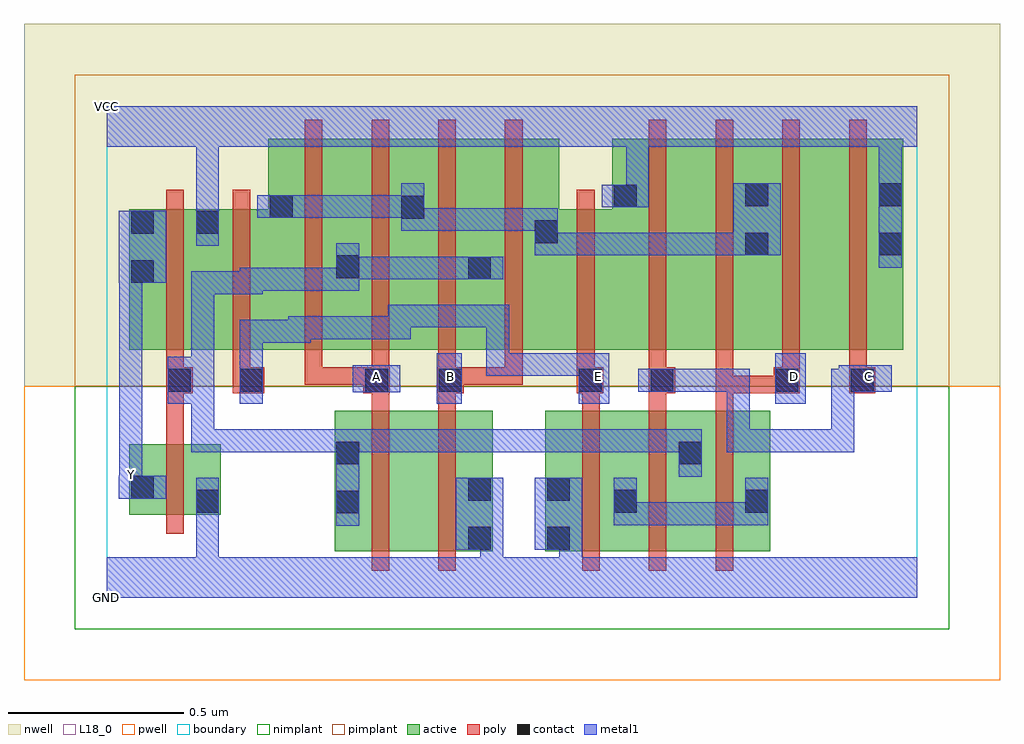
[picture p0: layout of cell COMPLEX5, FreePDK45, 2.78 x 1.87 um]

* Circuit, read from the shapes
.subckt COMPLEX5 A B C D E GND VCC Y
M1 GND n1 Y VSUBS nfet w=0.2u l=0.05u
M2 n2 A n1 VSUBS nfet w=0.4u l=0.05u
M3 GND B n2 VSUBS nfet w=0.4u l=0.05u
M4 n3 E GND VSUBS nfet w=0.4u l=0.05u
M5 n1 C n3 VSUBS nfet w=0.4u l=0.05u
M6 n3 D n1 VSUBS nfet w=0.4u l=0.05u
M7 VCC n1 Y n4 pfet w=0.4u l=0.05u
M8 n5 E VCC n4 pfet w=0.4u l=0.05u m=2
M9 n1 A n5 n4 pfet w=0.6u l=0.05u m=2
M10 n1 B n5 n4 pfet w=0.6u l=0.05u m=2
M11 n6 C VCC n4 pfet w=0.6u l=0.05u
M12 n5 D n6 n4 pfet w=0.6u l=0.05u
M13 n7 D n5 n4 pfet w=0.6u l=0.05u
M14 VCC C n7 n4 pfet w=0.6u l=0.05u
.ends

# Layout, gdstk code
import gdstk
lib = gdstk.Library(unit=1e-6, precision=1e-09)
def R(c, l, rs):  # rectangles x0, y0, x1, y1
    for r in rs: c.add(gdstk.rectangle(r[:2], r[2:], *l))
def A(c, l, x, y, w, h, nx, ny, dx, dy):  # array of equal rectangles
    R(c, l, [(x+i*dx, y+j*dy, x+i*dx+w, y+j*dy+h) for i in range(nx) for j in range(ny)])
active = (1, 0)
pwell = (2, 0)
nwell = (3, 0)
nimplant = (4, 0)
pimplant = (5, 0)
poly = (9, 0)
contact = (10, 0)
metal1 = (11, 0)
L18_0 = (18, 0)
boundary = (235, 0)

complex5 = lib.new_cell('COMPLEX5')
R(complex5, active, [(0.65,0.132,0.875,0.532), (0.875,0.132,1.1,0.532), (1.025,0.132,1.1,0.532), (1.25,0.132,1.515,0.532), (1.25,0.132,1.325,0.532), (1.44,0.132,1.7,0.532), (1.625,0.132,1.89,0.532), (0.65,0.147,0.755,0.532), (1.44,0.147,1.515,0.492), (1.625,0.147,1.7,0.492), (1.815,0.147,1.89,0.532), (0.065,0.237,0.14,0.437), (0.065,0.237,0.325,0.437), (0.25,0.237,0.325,0.437), (0.065,0.707,0.325,1.107), (0.065,0.707,0.14,1.107), (0.25,0.707,0.325,1.107), (0.25,0.707,0.535,1.107), (0.46,0.707,0.725,1.307), (0.65,0.707,0.725,1.07), (0.65,0.707,0.91,1.307), (0.835,0.707,0.91,1.2), (0.835,0.707,1.1,1.307), (1.025,0.707,1.29,1.307), (1.025,0.707,1.1,1.07), (1.215,0.707,1.515,1.107), (1.44,0.707,1.665,1.307), (1.665,0.707,1.89,1.307), (1.815,0.707,2.045,1.307), (1.815,0.707,1.89,1.2), (2.045,0.707,2.27,1.307), (2.195,0.707,2.27,1.307), (1.44,0.802,1.515,1.182), (0.46,0.845,0.535,1.2), (1.215,0.907,1.29,1.2)])
R(complex5, pwell, [(-0.235,-0.235,2.545,0.602)])
R(complex5, nwell, [(-0.235,0.602,2.545,1.635)])
R(complex5, nimplant, [(-0.09,-0.09,2.4,0.602)])
R(complex5, pimplant, [(-0.09,0.602,2.4,1.49)])
A(complex5, poly, 1.355, 0.077, 0.05, 0.51, 3, 1, 0.19, 0)
A(complex5, poly, 1.355, 0.537, 0.05, 0.095, 3, 1, 0.19, 0)
A(complex5, poly, 0.565, 0.607, 0.05, 0.095, 4, 1, 0.19, 0)
A(complex5, poly, 0.565, 0.652, 0.05, 0.71, 4, 1, 0.19, 0)
A(complex5, poly, 1.545, 0.652, 0.05, 0.71, 4, 1, 0.19, 0)
R(complex5, poly, [(0.755,0.077,0.805,0.587), (0.945,0.077,0.995,0.587), (0.17,0.182,0.22,0.492), (0.17,0.442,0.22,0.632), (0.755,0.537,0.805,0.632), (0.945,0.537,0.995,0.632), (0.17,0.582,0.245,0.657), (0.36,0.582,0.45,0.657), (0.732,0.582,0.807,0.657), (0.942,0.582,1.017,0.657), (1.34,0.582,1.415,0.657), (1.545,0.582,1.62,0.657), (1.735,0.582,1.95,0.632), (1.735,0.582,1.785,0.632), (1.735,0.582,1.785,0.632), (1.735,0.582,1.785,0.632), (1.735,0.582,1.785,0.702), (1.9,0.582,1.975,0.657), (2.115,0.582,2.19,0.657), (0.17,0.607,0.22,0.702), (0.36,0.607,0.41,0.702), (0.565,0.607,0.615,0.657), (0.565,0.607,0.615,0.657), (0.565,0.607,0.615,0.657), (0.565,0.607,0.782,0.657), (0.967,0.607,1.017,0.657), (0.967,0.607,1.017,0.657), (0.967,0.607,1.185,0.657), (1.135,0.607,1.185,0.657), (1.34,0.607,1.39,0.702), (1.545,0.607,1.595,0.702), (1.925,0.607,1.975,0.702), (2.115,0.607,2.165,0.702), (0.17,0.652,0.22,1.162), (0.36,0.652,0.41,1.162), (1.34,0.652,1.39,1.162)])
R(complex5, contact, [(1.03,0.137,1.095,0.202), (1.255,0.137,1.32,0.202), (0.655,0.24,0.72,0.305), (0.255,0.242,0.32,0.307), (1.445,0.242,1.51,0.307), (1.82,0.242,1.885,0.307), (1.03,0.277,1.095,0.342), (1.255,0.277,1.32,0.342), (0.07,0.282,0.135,0.347), (0.655,0.38,0.72,0.445), (1.63,0.38,1.695,0.445), (0.175,0.587,0.24,0.652), (0.38,0.587,0.445,0.652), (0.737,0.587,0.802,0.652), (0.947,0.587,1.012,0.652), (1.345,0.587,1.41,0.652), (1.55,0.587,1.615,0.652), (1.905,0.587,1.97,0.652), (2.12,0.587,2.185,0.652), (0.07,0.897,0.135,0.962), (1.03,0.907,1.095,0.972), (0.655,0.91,0.72,0.975), (1.82,0.975,1.885,1.04), (2.2,0.975,2.265,1.04), (1.22,1.01,1.285,1.075), (0.07,1.037,0.135,1.102), (0.255,1.037,0.32,1.102), (0.84,1.08,0.905,1.145), (0.465,1.082,0.53,1.147), (1.445,1.112,1.51,1.177), (1.82,1.115,1.885,1.18), (2.2,1.115,2.265,1.18)])
R(complex5, metal1, [(0,0,2.31,0.115), (0.255,0.05,0.32,0.115), (0.255,0.05,0.32,0.115), (0.255,0.05,0.32,0.115), (0.255,0.05,0.32,0.115), (0.255,0.05,0.32,0.272), (1.065,0.05,1.13,0.202), (1.29,0.05,1.355,0.202), (0.995,0.137,1.13,0.342), (1.22,0.137,1.355,0.342), (0.655,0.205,0.72,0.48), (0.255,0.207,0.32,0.342), (1.445,0.207,1.51,0.342), (1.445,0.207,1.662,0.272), (1.597,0.207,1.662,0.272), (1.597,0.207,1.662,0.272), (1.597,0.207,1.662,0.272), (1.597,0.207,1.832,0.272), (1.767,0.207,1.832,0.272), (1.767,0.207,1.885,0.272), (1.82,0.207,1.885,0.342), (0.035,0.282,0.17,0.347), (0.037,0.282,0.102,0.347), (0.037,0.282,0.102,0.417), (1.63,0.345,1.695,0.48), (0.037,0.352,0.102,0.962), (0.242,0.415,0.307,0.48), (0.242,0.415,0.445,0.48), (0.242,0.415,0.307,0.687), (0.38,0.415,0.445,0.48), (0.38,0.415,0.445,0.48), (0.38,0.415,0.445,0.48), (0.38,0.415,0.582,0.48), (0.517,0.415,0.582,0.48), (0.517,0.415,0.72,0.48), (0.655,0.415,0.72,0.48), (0.655,0.415,0.72,0.48), (0.655,0.415,0.922,0.48), (0.857,0.415,0.922,0.48), (0.857,0.415,0.922,0.48), (0.857,0.415,0.922,0.48), (0.857,0.415,1.06,0.48), (0.995,0.415,1.06,0.48), (0.995,0.415,1.15,0.48), (1.085,0.415,1.15,0.48), (1.085,0.415,1.287,0.48), (1.222,0.415,1.287,0.48), (1.222,0.415,1.287,0.48), (1.222,0.415,1.287,0.48), (1.222,0.415,1.512,0.48), (1.447,0.415,1.512,0.48), (1.447,0.415,1.695,0.48), (1.63,0.415,1.695,0.48), (1.63,0.415,1.695,0.48), (1.767,0.415,1.832,0.652), (1.767,0.415,1.832,0.48), (1.767,0.415,2.012,0.48), (1.947,0.415,2.012,0.48), (1.947,0.415,2.13,0.48), (2.065,0.415,2.13,0.652), (2.065,0.415,2.13,0.48), (0.175,0.552,0.24,0.687), (0.38,0.552,0.445,0.687), (0.94,0.552,1.012,0.697), (1.345,0.552,1.432,0.697), (1.905,0.552,1.992,0.697), (0.702,0.585,0.837,0.662), (1.515,0.587,1.65,0.652), (1.585,0.587,1.65,0.652), (1.585,0.587,1.65,0.652), (1.585,0.587,1.832,0.652), (1.767,0.587,1.832,0.652), (1.767,0.587,1.832,0.652), (1.767,0.587,1.832,0.652), (2.065,0.587,2.15,0.652), (2.065,0.587,2.13,0.652), (2.085,0.587,2.237,0.662), (0.175,0.622,0.307,0.687), (0.242,0.622,0.307,0.687), (0.242,0.622,0.307,0.687), (0.242,0.622,0.307,0.687), (0.242,0.622,0.307,0.93), (0.38,0.622,0.445,0.687), (0.38,0.622,0.445,0.687), (0.38,0.622,0.445,0.792), (1.082,0.632,1.147,0.697), (1.082,0.632,1.15,0.697), (1.082,0.632,1.147,0.835), (1.085,0.632,1.15,0.697), (1.085,0.632,1.285,0.697), (1.22,0.632,1.285,0.697), (1.22,0.632,1.41,0.697), (0.38,0.727,0.445,0.792), (0.38,0.727,0.582,0.792), (0.517,0.727,0.582,0.802), (0.517,0.737,0.73,0.802), (0.665,0.737,0.73,0.802), (0.665,0.737,0.73,0.802), (0.665,0.737,0.73,0.802), (0.665,0.737,0.867,0.802), (0.802,0.737,0.867,0.835), (0.802,0.77,1.012,0.835), (0.947,0.77,1.012,0.835), (0.947,0.77,1.147,0.835), (1.082,0.77,1.147,0.835), (0.242,0.865,0.307,0.93), (0.242,0.865,0.445,0.93), (0.38,0.865,0.445,0.93), (0.38,0.865,0.445,0.93), (0.38,0.865,0.445,0.94), (0.38,0.875,0.582,0.94), (0.517,0.875,0.582,0.94), (0.517,0.875,0.72,0.94), (0.655,0.875,0.72,1.01), (0.035,0.897,0.17,1.102), (0.655,0.907,0.72,0.972), (0.655,0.907,0.72,0.972), (0.655,0.907,0.867,0.972), (0.802,0.907,0.867,0.972), (0.802,0.907,0.867,0.972), (0.802,0.907,0.867,0.972), (0.802,0.907,1.06,0.972), (0.995,0.907,1.13,0.972), (2.2,0.94,2.265,1.215), (1.22,0.975,1.285,1.04), (1.22,0.975,1.285,1.04), (1.22,0.975,1.285,1.04), (1.22,0.975,1.285,1.11), (1.22,0.975,1.287,1.04), (1.222,0.975,1.287,1.04), (1.222,0.975,1.287,1.04), (1.222,0.975,1.512,1.04), (1.447,0.975,1.512,1.04), (1.447,0.975,1.682,1.04), (1.617,0.975,1.682,1.04), (1.617,0.975,1.682,1.04), (1.617,0.975,1.682,1.04), (1.617,0.975,1.832,1.04), (1.767,0.975,1.832,1.04), (1.767,0.975,1.85,1.04), (1.785,0.975,1.92,1.18), (0.255,1.002,0.32,1.137), (0.84,1.045,0.905,1.11), (0.84,1.045,0.905,1.11), (0.84,1.045,0.905,1.18), (0.84,1.045,1.06,1.11), (0.995,1.045,1.06,1.11), (0.995,1.045,1.15,1.11), (1.085,1.045,1.15,1.11), (1.085,1.045,1.285,1.11), (0.255,1.072,0.32,1.35), (0.43,1.082,0.565,1.147), (0.5,1.082,0.582,1.147), (0.517,1.082,0.582,1.147), (0.517,1.082,0.72,1.147), (0.655,1.082,0.72,1.147), (0.655,1.082,0.72,1.147), (0.655,1.082,0.72,1.147), (0.655,1.082,0.905,1.147), (1.41,1.112,1.545,1.177), (1.48,1.112,1.545,1.35), (2.2,1.15,2.265,1.35), (0,1.285,2.31,1.4), (0.255,1.285,0.32,1.35), (0.255,1.285,0.32,1.35)])
R(complex5, L18_0, [(0,0,2.31,0.115), (0.255,0.05,0.32,0.115), (0.255,0.05,0.32,0.115), (0.255,0.05,0.32,0.115), (0.255,0.05,0.32,0.115), (0.255,0.05,0.32,0.272), (1.065,0.05,1.13,0.202), (1.29,0.05,1.355,0.202), (0.995,0.137,1.13,0.342), (1.22,0.137,1.355,0.342), (0.255,0.207,0.32,0.342), (0.035,0.282,0.17,0.347), (0.037,0.282,0.102,0.417), (0.037,0.282,0.102,0.347), (0.037,0.317,0.102,0.382), (0.037,0.352,0.102,0.962), (1.767,0.415,1.832,0.48), (1.767,0.415,1.832,0.652), (1.767,0.415,2.012,0.48), (1.947,0.415,2.012,0.48), (1.947,0.415,2.13,0.48), (2.065,0.415,2.13,0.48), (2.065,0.415,2.13,0.652), (0.38,0.552,0.445,0.687), (0.94,0.552,1.012,0.697), (1.345,0.552,1.432,0.697), (1.905,0.552,1.992,0.697), (0.702,0.585,0.837,0.662), (1.515,0.587,1.65,0.652), (1.585,0.587,1.65,0.652), (1.585,0.587,1.65,0.652), (1.585,0.587,1.832,0.652), (1.767,0.587,1.832,0.652), (1.767,0.587,1.832,0.652), (1.767,0.587,1.832,0.652), (2.065,0.587,2.13,0.652), (2.065,0.587,2.15,0.652), (2.085,0.587,2.237,0.662), (0.737,0.597,0.802,0.662), (0.947,0.597,1.012,0.662), (1.367,0.597,1.432,0.662), (1.927,0.597,1.992,0.662), (2.137,0.597,2.202,0.662), (0.38,0.622,0.445,0.687), (0.38,0.622,0.445,0.687), (0.38,0.622,0.445,0.792), (1.082,0.632,1.147,0.697), (1.082,0.632,1.147,0.835), (1.082,0.632,1.15,0.697), (1.085,0.632,1.15,0.697), (1.085,0.632,1.285,0.697), (1.22,0.632,1.285,0.697), (1.22,0.632,1.41,0.697), (0.38,0.727,0.445,0.792), (0.38,0.727,0.582,0.792), (0.517,0.727,0.582,0.802), (0.517,0.737,0.73,0.802), (0.665,0.737,0.73,0.802), (0.665,0.737,0.73,0.802), (0.665,0.737,0.73,0.802), (0.665,0.737,0.867,0.802), (0.802,0.737,0.867,0.835), (0.802,0.77,1.012,0.835), (0.947,0.77,1.012,0.835), (0.947,0.77,1.147,0.835), (1.082,0.77,1.147,0.835), (0.035,0.897,0.17,1.102), (2.2,0.94,2.265,1.215), (0.255,1.002,0.32,1.137), (0.255,1.072,0.32,1.35), (1.41,1.112,1.545,1.177), (1.48,1.112,1.545,1.35), (2.2,1.15,2.265,1.35), (0,1.285,2.31,1.4), (0.255,1.285,0.32,1.35), (0.255,1.285,0.32,1.35)])
R(complex5, boundary, [(0,0,2.31,1.4)])
complex5.add(gdstk.Label('A', (0.77,0.63), layer=11, texttype=0))
complex5.add(gdstk.Label('B', (0.98,0.63), layer=11, texttype=0))
complex5.add(gdstk.Label('C', (2.17,0.63), layer=11, texttype=0))
complex5.add(gdstk.Label('D', (1.96,0.63), layer=11, texttype=0))
complex5.add(gdstk.Label('E', (1.4,0.63), layer=11, texttype=0))
complex5.add(gdstk.Label('Y', (0.07,0.35), layer=11, texttype=0))
complex5.add(gdstk.Label('VCC', (0,1.4), layer=11, texttype=0))
complex5.add(gdstk.Label('GND', (0,0), layer=11, texttype=0))

lib.write_gds('COMPLEX5.gds')
